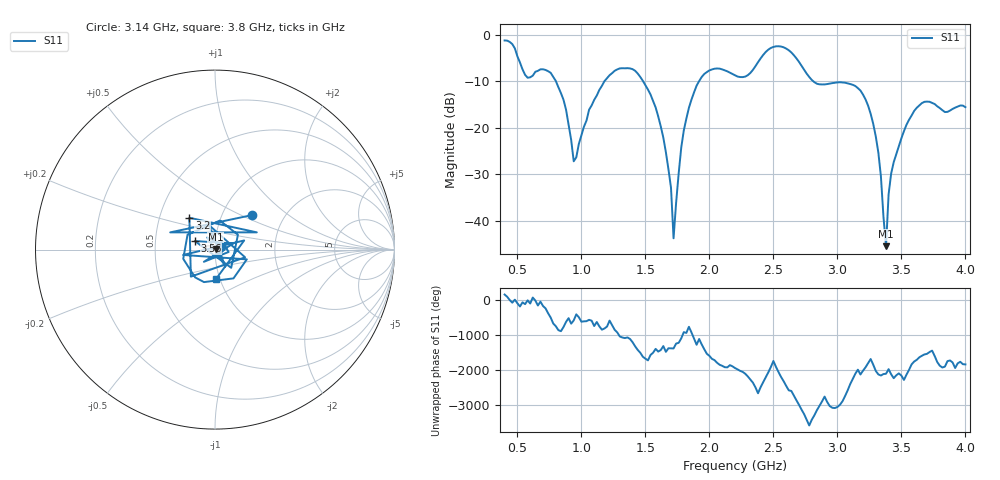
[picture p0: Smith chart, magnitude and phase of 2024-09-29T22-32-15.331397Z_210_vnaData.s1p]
!Created with skrf (http://scikit-rf.org).
# Hz S RI R 50.0
!freq ReS11 ImS11
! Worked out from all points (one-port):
!   181 points, 400 MHz to 4 GHz, reference 50 ohm
!   lowest |S11| = -45.5 dB at 3.38 GHz (marker M1), VSWR 1.01, Z = 50.4 + j0.364 ohm
!   |S11| at or under -10 dB: 801.3 MHz to 1.179 GHz (377.9 MHz wide, 38.2 % of centre); 1.482 GHz to 1.919 GHz (436.3 MHz wide, 25.7 % of centre); 2.813 GHz to end of sweep
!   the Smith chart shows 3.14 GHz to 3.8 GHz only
!   S11 on the Smith chart (normalised r, x): 3.14 GHz: 1.38, +0.58; 3.2 GHz: 0.71, +0.27; 3.56 GHz: 0.79, +0.08; 3.8 GHz: 0.96, -0.32
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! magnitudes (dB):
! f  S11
! 400 MHz  -1.2
! 580 MHz  -9.2
! 740 MHz  -7.8
! 860 MHz  -14.0
! 940 MHz  -27.2
! 1.06 GHz  -16.1
! 1.3 GHz  -7.2
! 1.44 GHz  -8.3
! 1.58 GHz  -15.6
! 1.7 GHz  -32.9
! 1.72 GHz  -43.8
! 1.76 GHz  -29.8
! 1.82 GHz  -18.0
! 1.92 GHz  -9.9
! 2.2 GHz  -8.7
! 2.5 GHz  -2.6
! 2.66 GHz  -4.4
! 2.84 GHz  -10.5
! 3.1 GHz  -10.6
! 3.14 GHz  -11.0
! 3.2 GHz  -12.8
! 3.32 GHz  -25.3
! 3.38 GHz  -45.5
! 3.4 GHz  -34.4
! 3.42 GHz  -29.9
! 3.56 GHz  -18.3
! 3.8 GHz  -15.8
! 4 GHz  -15.6
